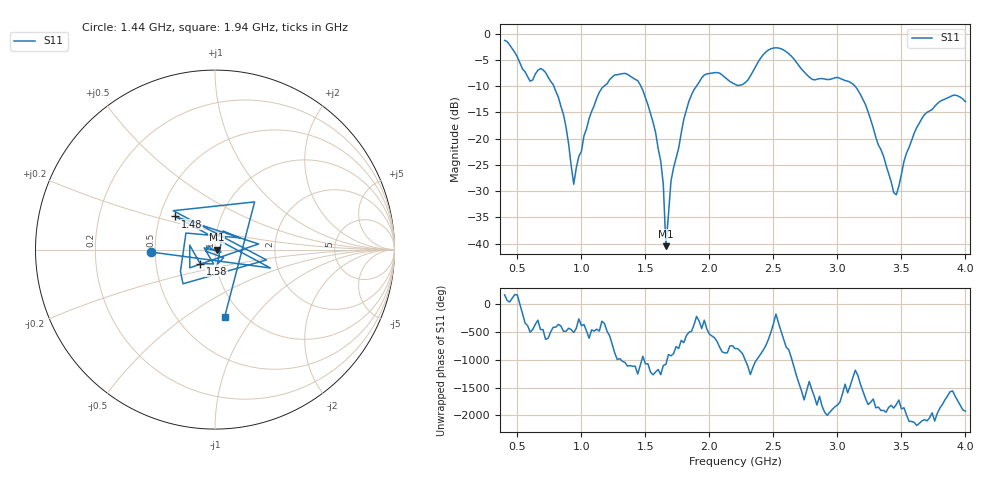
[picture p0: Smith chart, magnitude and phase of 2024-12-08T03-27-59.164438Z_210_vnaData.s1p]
!Created with skrf (http://scikit-rf.org).
# Hz S RI R 50.0
!freq ReS11 ImS11
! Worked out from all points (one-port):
!   181 points, 400 MHz to 4 GHz, reference 50 ohm
!   lowest |S11| = -40.5 dB at 1.66 GHz (marker M1), VSWR 1.02, Z = 51 - j0.0682 ohm
!   |S11| at or under -10 dB: 784.4 MHz to 1.177 GHz (392.3 MHz wide, 40 % of centre); 1.465 GHz to 1.899 GHz (434 MHz wide, 25.8 % of centre); 3.138 GHz to end of sweep
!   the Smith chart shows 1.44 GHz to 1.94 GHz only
!   S11 on the Smith chart (normalised r, x): 1.44 GHz: 0.47, -0.01; 1.48 GHz: 0.60, +0.24; 1.58 GHz: 0.84, -0.13; 1.94 GHz: 0.82, -0.73
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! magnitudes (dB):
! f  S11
! 400 MHz  -1.3
! 600 MHz  -9.0
! 720 MHz  -7.4
! 860 MHz  -15.4
! 940 MHz  -28.7
! 1.02 GHz  -19.5
! 1.12 GHz  -12.3
! 1.3 GHz  -7.7
! 1.44 GHz  -8.9
! 1.48 GHz  -10.8
! 1.58 GHz  -18.9
! 1.64 GHz  -28.8
! 1.66 GHz  -40.5
! 1.7 GHz  -28.1
! 1.76 GHz  -21.8
! 1.84 GHz  -12.9
! 1.94 GHz  -8.4
! 2.2 GHz  -9.6
! 2.48 GHz  -2.9
! 2.66 GHz  -4.8
! 2.8 GHz  -8.6
! 3.1 GHz  -9.3
! 3.22 GHz  -13.6
! 3.44 GHz  -30.3
! 3.56 GHz  -21.7
! 3.68 GHz  -15.4
! 3.8 GHz  -12.9
! 4 GHz  -13.0
